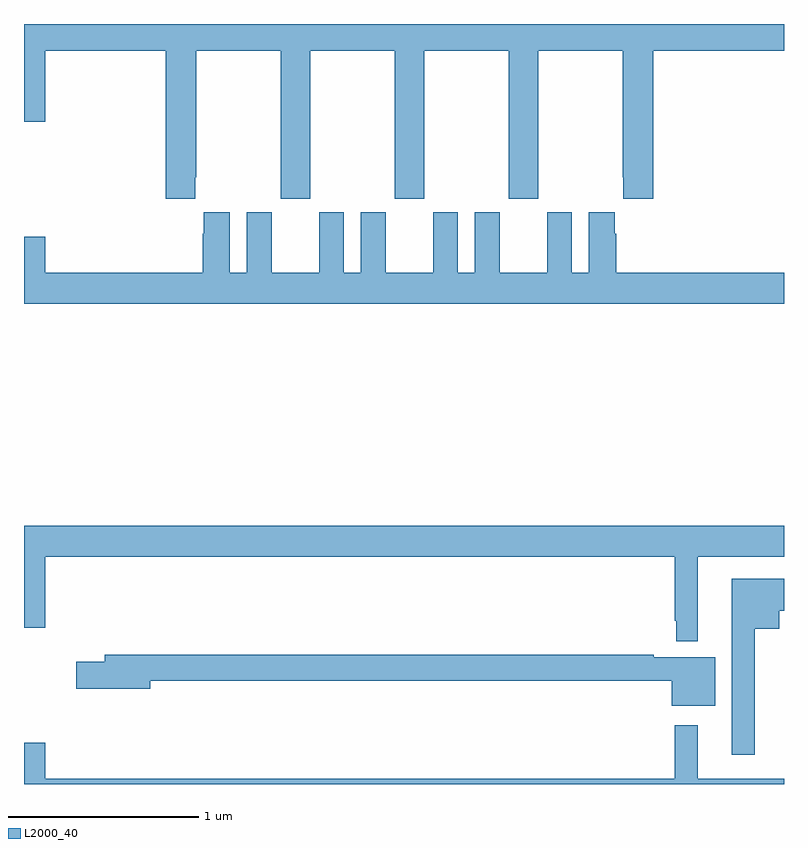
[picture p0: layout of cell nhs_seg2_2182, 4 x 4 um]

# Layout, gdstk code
import gdstk
lib = gdstk.Library(unit=1e-6, precision=1e-09)
def P(c, l, *ps):  # polygons
    for p in ps: c.add(gdstk.Polygon(p, *l))
L2000_40 = (2000, 40)

nhs_seg2_2182 = lib.new_cell('nhs_seg2_2182')
P(nhs_seg2_2182, L2000_40, [(225.901,622.993),(225.906,622.993),(225.906,623.66),(226.351,623.66),(226.351,622.881),(226.506,622.881),(226.506,623.66),(226.951,623.66),(226.951,622.881),(227.106,622.881),(227.106,623.66),(227.551,623.66),(227.551,622.881),(227.706,622.881),(227.706,623.66),(228.151,623.66),(228.151,622.993),(228.155,622.993),(228.155,622.881),(228.311,622.881),(228.311,623.66),(229,623.66),(229,623.8),(225,623.8),(225,623.286),(225.112,623.286),(225.112,623.66),(225.746,623.66),(225.746,622.881),(225.901,622.881)],
  [(229,622.492),(228.116,622.492),(228.116,622.697),(228.109,622.697),(228.109,622.81),(227.972,622.81),(227.972,622.492),(227.884,622.492),(227.884,622.81),(227.753,622.81),(227.753,622.492),(227.503,622.492),(227.503,622.81),(227.372,622.81),(227.372,622.492),(227.284,622.492),(227.284,622.81),(227.153,622.81),(227.153,622.492),(226.903,622.492),(226.903,622.81),(226.772,622.81),(226.772,622.492),(226.684,622.492),(226.684,622.81),(226.553,622.81),(226.553,622.492),(226.303,622.492),(226.303,622.81),(226.172,622.81),(226.172,622.492),(226.084,622.492),(226.084,622.81),(225.947,622.81),(225.947,622.697),(225.941,622.697),(225.941,622.492),(225.112,622.492),(225.112,622.681),(225,622.681),(225,622.328),(229,622.328)],
  [(228.547,620.996),(229,620.996),(229,621.16),(225,621.16),(225,620.622),(225.112,620.622),(225.112,620.996),(228.426,620.996),(228.426,620.659),(228.432,620.659),(228.432,620.552),(228.547,620.552)],
  [(228.847,620.618),(228.976,620.618),(228.976,620.711),(229,620.711),(229,620.881),(228.725,620.881),(228.725,619.953),(228.847,619.953)],
  [(228.637,620.467),(228.314,620.467),(228.314,620.48),(225.425,620.48),(225.425,620.444),(225.276,620.444),(225.276,620.302),(225.664,620.302),(225.664,620.344),(228.41,620.344),(228.41,620.213),(228.637,620.213)],
  [(225,620.017),(225,619.8),(229,619.8),(229,619.828),(228.547,619.828),(228.547,620.11),(228.426,620.11),(228.426,619.828),(225.112,619.828),(225.112,620.017)])

lib.write_gds('nhs_seg2_2182.gds')
